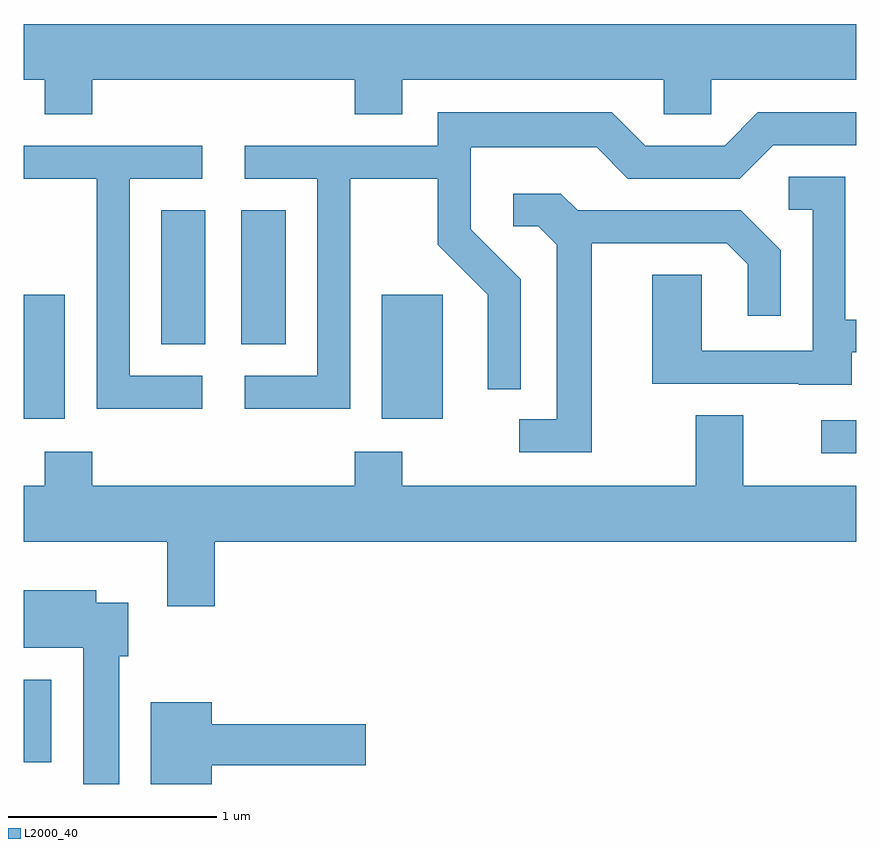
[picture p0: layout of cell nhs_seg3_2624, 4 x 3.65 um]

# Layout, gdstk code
import gdstk
lib = gdstk.Library(unit=1e-6, precision=1e-09)
def R(c, l, rs):  # rectangles x0, y0, x1, y1
    for r in rs: c.add(gdstk.rectangle(r[:2], r[2:], *l))
def P(c, l, *ps):  # polygons
    for p in ps: c.add(gdstk.Polygon(p, *l))
L2000_40 = (2000, 40)

nhs_seg3_2624 = lib.new_cell('nhs_seg3_2624')
R(nhs_seg3_2624, L2000_40, [(261.611,1195.996,261.744,1196.394), (265.443,1197.481,265.611,1197.639), (261.611,1197.646,261.809,1198.244), (263.331,1197.646,263.624,1198.244), (262.271,1198.006,262.484,1198.649), (262.656,1198.006,262.869,1198.649)])
P(nhs_seg3_2624, L2000_40, [(261.939,1199.276),(263.201,1199.276),(263.201,1199.111),(263.429,1199.111),(263.429,1199.276),(264.686,1199.276),(264.686,1199.111),(264.914,1199.111),(264.914,1199.276),(265.611,1199.276),(265.611,1199.544),(261.611,1199.544),(261.611,1199.276),(261.711,1199.276),(261.711,1199.111),(261.939,1199.111)],
  [(263.179,1198.801),(263.601,1198.801),(263.601,1198.484),(263.841,1198.244),(263.841,1197.788),(263.999,1197.788),(263.999,1198.317),(263.759,1198.557),(263.759,1198.951),(264.364,1198.951),(264.514,1198.801),(265.052,1198.801),(265.212,1198.961),(265.611,1198.961),(265.611,1199.119),(265.139,1199.119),(264.979,1198.959),(264.597,1198.959),(264.437,1199.119),(263.601,1199.119),(263.601,1198.959),(262.673,1198.959),(262.673,1198.801),(263.021,1198.801),(263.021,1197.854),(262.673,1197.854),(262.673,1197.696),(263.179,1197.696)],
  [(262.468,1197.854),(262.119,1197.854),(262.119,1198.801),(262.468,1198.801),(262.468,1198.959),(261.611,1198.959),(261.611,1198.801),(261.961,1198.801),(261.961,1197.696),(262.468,1197.696)],
  [(265.589,1197.966),(265.611,1197.966),(265.611,1198.124),(265.559,1198.124),(265.559,1198.809),(265.288,1198.809),(265.288,1198.651),(265.401,1198.651),(265.401,1197.974),(264.869,1197.974),(264.869,1198.339),(264.631,1198.339),(264.631,1197.816),(265.335,1197.816),(265.335,1197.811),(265.589,1197.811)],
  [(264.339,1198.491),(264.989,1198.491),(265.091,1198.389),(265.091,1198.143),(265.249,1198.143),(265.249,1198.457),(265.057,1198.649),(264.272,1198.649),(264.192,1198.729),(263.963,1198.729),(263.963,1198.571),(264.084,1198.571),(264.171,1198.484),(264.171,1197.644),(263.993,1197.644),(263.993,1197.486),(264.339,1197.486)],
  [(262.529,1197.056),(265.611,1197.056),(265.611,1197.324),(265.069,1197.324),(265.069,1197.664),(264.841,1197.664),(264.841,1197.324),(263.429,1197.324),(263.429,1197.489),(263.201,1197.489),(263.201,1197.324),(261.939,1197.324),(261.939,1197.489),(261.711,1197.489),(261.711,1197.324),(261.611,1197.324),(261.611,1197.056),(262.301,1197.056),(262.301,1196.746),(262.529,1196.746)],
  [(262.069,1196.506),(262.114,1196.506),(262.114,1196.764),(261.959,1196.764),(261.959,1196.824),(261.611,1196.824),(261.611,1196.546),(261.896,1196.546),(261.896,1195.892),(262.069,1195.892)],
  [(262.514,1195.981),(263.254,1195.981),(263.254,1196.179),(262.514,1196.179),(262.514,1196.284),(262.221,1196.284),(262.221,1195.892),(262.514,1195.892)])

lib.write_gds('nhs_seg3_2624.gds')
